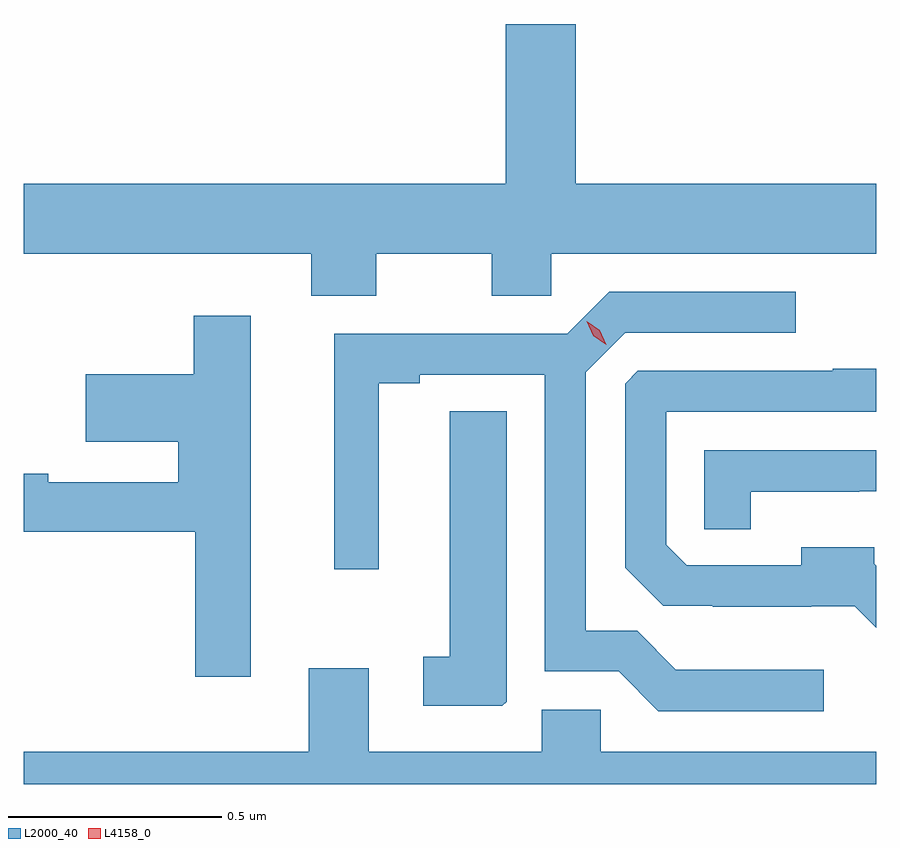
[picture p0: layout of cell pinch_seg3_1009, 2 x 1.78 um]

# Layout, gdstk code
import gdstk
lib = gdstk.Library(unit=1e-6, precision=1e-09)
def P(c, l, *ps):  # polygons
    for p in ps: c.add(gdstk.Polygon(p, *l))
L2000_40 = (2000, 40)
L4158_0 = (4158, 0)

pinch_seg3_1009 = lib.new_cell('pinch_seg3_1009')
P(pinch_seg3_1009, L2000_40, [(476.392,692.924),(476.663,692.924),(476.663,692.826),(476.802,692.826),(476.802,692.924),(477.565,692.924),(477.565,693.088),(476.86,693.088),(476.86,693.463),(476.696,693.463),(476.696,693.088),(475.565,693.088),(475.565,692.924),(476.24,692.924),(476.24,692.825),(476.392,692.825)],
  [(477.442,691.948),(477.095,691.948),(477.004,692.039),(476.883,692.039),(476.883,692.646),(476.976,692.739),(477.376,692.739),(477.376,692.835),(476.939,692.835),(476.84,692.736),(476.294,692.736),(476.294,692.184),(476.398,692.184),(476.398,692.62),(476.494,692.62),(476.494,692.64),(476.787,692.64),(476.787,691.944),(476.961,691.944),(477.054,691.851),(477.442,691.851)],
  [(476.098,692.779),(475.964,692.779),(475.964,692.641),(475.71,692.641),(475.71,692.483),(475.928,692.483),(475.928,692.388),(475.622,692.388),(475.622,692.408),(475.565,692.408),(475.565,692.272),(475.967,692.272),(475.967,691.932),(476.098,691.932)],
  [(477.565,692.192),(477.56,692.197),(477.56,692.236),(477.389,692.236),(477.389,692.193),(477.12,692.193),(477.072,692.241),(477.072,692.553),(477.565,692.553),(477.565,692.654),(477.463,692.654),(477.463,692.649),(477.006,692.649),(476.976,692.619),(476.976,692.187),(477.065,692.098),(477.181,692.098),(477.181,692.096),(477.413,692.096),(477.413,692.097),(477.515,692.097),(477.565,692.047)],
  [(476.698,691.873),(476.698,692.555),(476.564,692.555),(476.564,691.979),(476.502,691.979),(476.502,691.863),(476.688,691.863)],
  [(477.271,692.366),(477.525,692.366),(477.525,692.367),(477.565,692.367),(477.565,692.463),(477.162,692.463),(477.162,692.278),(477.271,692.278)],
  [(477.565,691.756),(476.919,691.756),(476.919,691.854),(476.78,691.854),(476.78,691.756),(476.374,691.756),(476.374,691.951),(476.234,691.951),(476.234,691.756),(475.565,691.756),(475.565,691.68),(477.565,691.68)])
P(pinch_seg3_1009, L4158_0, [(476.931,692.71),(476.901,692.732),(476.886,692.766),(476.886,692.766),(476.886,692.766),(476.916,692.745),(476.932,692.711),(476.932,692.71)])

lib.write_gds('pinch_seg3_1009.gds')
